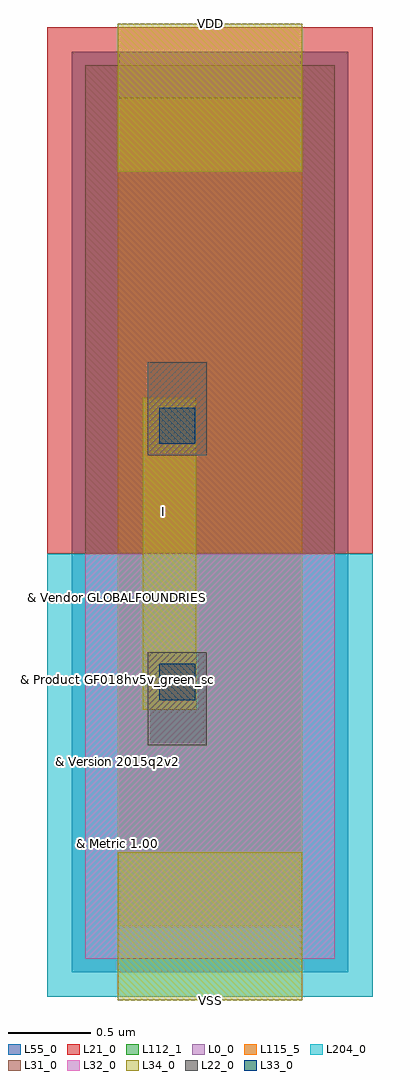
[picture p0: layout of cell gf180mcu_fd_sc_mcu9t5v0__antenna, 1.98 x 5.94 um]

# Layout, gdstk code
import gdstk
lib = gdstk.Library(unit=1e-6, precision=1e-09)
def R(c, l, rs):  # rectangles x0, y0, x1, y1
    for r in rs: c.add(gdstk.rectangle(r[:2], r[2:], *l))
L0_0 = (0, 0)
L21_0 = (21, 0)
L22_0 = (22, 0)
L31_0 = (31, 0)
L32_0 = (32, 0)
L33_0 = (33, 0)
L34_0 = (34, 0)
L55_0 = (55, 0)
L112_1 = (112, 1)
L115_5 = (115, 5)
L204_0 = (204, 0)

gf180mcu_fd_sc_mcu9t5v0_ = lib.new_cell('gf180mcu_fd_sc_mcu9t5v0__antenna')
R(gf180mcu_fd_sc_mcu9t5v0_, L0_0, [(0,0,1.12,5.04)])
R(gf180mcu_fd_sc_mcu9t5v0_, L21_0, [(-0.43,2.265,1.55,5.47)])
R(gf180mcu_fd_sc_mcu9t5v0_, L22_0, [(0.18,1.1,0.54,1.665), (0.18,2.865,0.54,3.43)])
R(gf180mcu_fd_sc_mcu9t5v0_, L31_0, [(-0.2,2.265,1.32,5.24)])
R(gf180mcu_fd_sc_mcu9t5v0_, L32_0, [(-0.2,-0.2,1.32,2.265)])
R(gf180mcu_fd_sc_mcu9t5v0_, L33_0, [(0.25,1.375,0.47,1.595), (0.25,2.935,0.47,3.155)])
R(gf180mcu_fd_sc_mcu9t5v0_, L34_0, [(0,-0.45,1.12,0.45), (0.15,1.315,0.475,3.215), (0,4.59,1.12,5.49)])
R(gf180mcu_fd_sc_mcu9t5v0_, L55_0, [(-0.28,-0.28,1.4,5.32)])
R(gf180mcu_fd_sc_mcu9t5v0_, L112_1, [(0,0,1.12,5.04)])
R(gf180mcu_fd_sc_mcu9t5v0_, L115_5, [(0,0,1.12,5.04)])
R(gf180mcu_fd_sc_mcu9t5v0_, L204_0, [(-0.43,-0.43,1.55,2.265)])
gf180mcu_fd_sc_mcu9t5v0_.add(gdstk.Label('I', (0.28,2.52), layer=34, texttype=10))
gf180mcu_fd_sc_mcu9t5v0_.add(gdstk.Label('VDD', (0.56,5.49), layer=34, texttype=10))
gf180mcu_fd_sc_mcu9t5v0_.add(gdstk.Label('VSS', (0.56,-0.45), layer=34, texttype=10))
gf180mcu_fd_sc_mcu9t5v0_.add(gdstk.Label('& Vendor GLOBALFOUNDRIES', (0,2), layer=63, texttype=63))
gf180mcu_fd_sc_mcu9t5v0_.add(gdstk.Label('& Product GF018hv5v_green_sc9', (0,1.5), layer=63, texttype=63))
gf180mcu_fd_sc_mcu9t5v0_.add(gdstk.Label('& Version 2015q2v2', (0,1), layer=63, texttype=63))
gf180mcu_fd_sc_mcu9t5v0_.add(gdstk.Label('& Metric 1.00', (0,0.5), layer=63, texttype=63))

lib.write_gds('gf180mcu_fd_sc_mcu9t5v0__antenna.gds')
